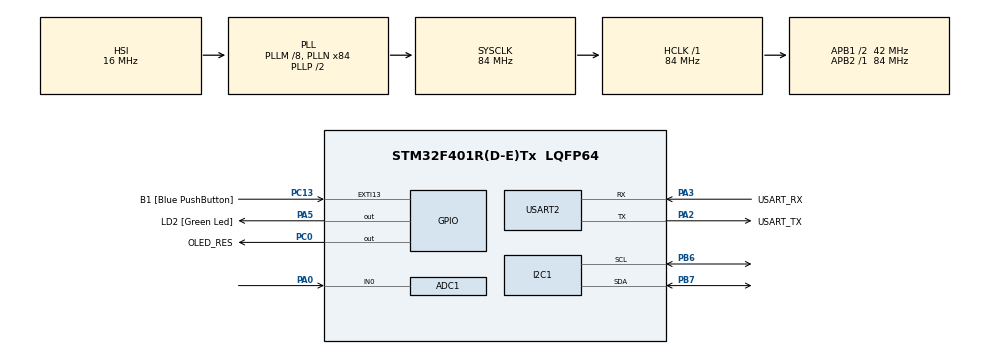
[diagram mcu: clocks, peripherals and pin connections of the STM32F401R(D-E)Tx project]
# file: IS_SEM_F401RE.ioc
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ADC1.Channel-2\#ChannelRegularConversion=ADC_CHANNEL_0
ADC1.ContinuousConvMode=ENABLE
ADC1.DMAContinuousRequests=ENABLE
ADC1.NbrOfConversionFlag=1
ADC1.Rank-2\#ChannelRegularConversion=1
ADC1.SamplingTime-2\#ChannelRegularConversion=ADC_SAMPLETIME_3CYCLES
ADC1.master=1
Dma.ADC1.0.Direction=DMA_PERIPH_TO_MEMORY
Dma.ADC1.0.FIFOMode=DMA_FIFOMODE_DISABLE
Dma.ADC1.0.Instance=DMA2_Stream0
Dma.ADC1.0.MemDataAlignment=DMA_MDATAALIGN_HALFWORD
Dma.ADC1.0.MemInc=DMA_MINC_ENABLE
Dma.ADC1.0.Mode=DMA_CIRCULAR
Dma.ADC1.0.PeriphDataAlignment=DMA_PDATAALIGN_HALFWORD
Dma.ADC1.0.PeriphInc=DMA_PINC_DISABLE
Dma.ADC1.0.Priority=DMA_PRIORITY_LOW
Dma.Request0=ADC1
Mcu.Family=STM32F4
Mcu.Name=STM32F401R(D-E)Tx
Mcu.Package=LQFP64
NVIC.DMA2_Stream0_IRQn=true\:0\:0\:false\:false\:true\:false\:true\:true
NVIC.EXTI15_10_IRQn=true\:0\:0\:false\:false\:true\:true\:true\:true
NVIC.PriorityGroup=NVIC_PRIORITYGROUP_4
NVIC.TIM3_IRQn=true\:0\:0\:false\:false\:true\:true\:true\:true
PA0-WKUP.Signal=ADCx_IN0
PA13.GPIO_Label=TMS
PA13.Mode=Trace_Asynchronous_SW
PA13.Signal=SYS_JTMS-SWDIO
PA14.GPIO_Label=TCK
PA14.Mode=Trace_Asynchronous_SW
PA14.Signal=SYS_JTCK-SWCLK
PA2.GPIO_Label=USART_TX
PA2.GPIO_Mode=GPIO_MODE_AF_PP
PA2.GPIO_PuPd=GPIO_NOPULL
PA2.GPIO_Speed=GPIO_SPEED_FREQ_LOW
PA2.Mode=Asynchronous
PA2.Signal=USART2_TX
PA3.GPIO_Label=USART_RX
PA3.GPIO_Mode=GPIO_MODE_AF_PP
PA3.GPIO_PuPd=GPIO_NOPULL
PA3.GPIO_Speed=GPIO_SPEED_FREQ_LOW
PA3.Mode=Asynchronous
PA3.Signal=USART2_RX
PA5.GPIO_Label=LD2 [Green Led]
PA5.GPIO_Mode=GPIO_MODE_OUTPUT_PP
PA5.GPIO_PuPd=GPIO_NOPULL
PA5.GPIO_Speed=GPIO_SPEED_FREQ_LOW
PA5.Signal=GPIO_Output
PB3.GPIO_Label=SWO
PB3.Mode=Trace_Asynchronous_SW
PB3.Signal=SYS_JTDO-SWO
PB6.Mode=I2C
PB6.Signal=I2C1_SCL
PB7.Mode=I2C
PB7.Signal=I2C1_SDA
PC0.GPIO_Label=OLED_RES
PC0.Signal=GPIO_Output
PC13-ANTI_TAMP.GPIO_Label=B1 [Blue PushButton]
PC13-ANTI_TAMP.GPIO_ModeDefaultEXTI=GPIO_MODE_IT_FALLING
PC13-ANTI_TAMP.GPIO_PuPd=GPIO_PULLUP
PC13-ANTI_TAMP.Signal=GPXTI13
PC14-OSC32_IN.Mode=LSE-External-Oscillator
PC14-OSC32_IN.Signal=RCC_OSC32_IN
PC15-OSC32_OUT.Mode=LSE-External-Oscillator
PC15-OSC32_OUT.Signal=RCC_OSC32_OUT
PH0\ -\ OSC_IN.Mode=HSE-External-Clock-Source
PH0\ -\ OSC_IN.Signal=RCC_OSC_IN
PH1\ -\ OSC_OUT.Mode=HSE-External-Clock-Source
PH1\ -\ OSC_OUT.Signal=RCC_OSC_OUT
ProjectManager.HeapSize=0x200
ProjectManager.StackSize=0x400
ProjectManager.TargetToolchain=STM32CubeIDE
RCC.48MHZClocksFreq_Value=24000000
RCC.AHBFreq_Value=84000000
RCC.APB1CLKDivider=RCC_HCLK_DIV2
RCC.APB1Freq_Value=42000000
RCC.APB1TimFreq_Value=84000000
RCC.APB2Freq_Value=84000000
RCC.APB2TimFreq_Value=84000000
RCC.CortexFreq_Value=84000000
RCC.HCLKFreq_Value=84000000
RCC.HSE_VALUE=8000000
RCC.HSI_VALUE=16000000
RCC.PLLM=8
RCC.PLLN=84
RCC.PLLQ=7
RCC.SYSCLKFreq_VALUE=84000000
RCC.SYSCLKSource=RCC_SYSCLKSOURCE_PLLCLK
RCC.VCOOutputFreq_Value=168000000
SH.ADCx_IN0.0=ADC1_IN0,IN0
TIM3.Period=9999
TIM3.Prescaler=8399
USART2.VirtualMode=VM_ASYNC
VP_TIM3_VS_ClockSourceINT.Mode=Internal
board=NUCLEO-F401RE

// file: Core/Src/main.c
/* USER CODE BEGIN Header */
/**
  ******************************************************************************
  * @file           : main.c
  * @brief          : Main program body
  ******************************************************************************
  * @attention
  *
  * Copyright (c) 2026 STMicroelectronics.
  * All rights reserved.
  *
  * This software is licensed under terms that can be found in the LICENSE file
  * in the root directory of this software component.
  * If no LICENSE file comes with this software, it is provided AS-IS.
  *
  ******************************************************************************
  */
/* USER CODE END Header */
#include "main.h"

/* USER CODE BEGIN Includes */
#include "sh1106_driver.h"
#include "testing.h"
#include <stdio.h>
#include <string.h>
/* USER CODE END Includes */

ADC_HandleTypeDef hadc1;
DMA_HandleTypeDef hdma_adc1;
I2C_HandleTypeDef hi2c1;
TIM_HandleTypeDef htim3;
UART_HandleTypeDef huart2;

/* USER CODE BEGIN PV */
uint16_t adc_buf[ADC_BUF_SIZE];
float measured_freq = 0;
float vpp = 0;
float vmin = 0;
float vmax = 0;
float sample_rate = 1400000.0f;
volatile uint8_t dma_ready = 0;
volatile uint8_t display_ready = 0;
volatile uint8_t timer_done = 0;
uint32_t test_start_tick = 0;
uint8_t test_freq_idx = 0;
uint8_t test_mode = 0;
uint8_t start_test=0;
/* USER CODE END PV */

void SystemClock_Config(void);
static void MX_GPIO_Init(void);
static void MX_DMA_Init(void);
static void MX_ADC1_Init(void);
static void MX_I2C1_Init(void);
static void MX_TIM3_Init(void);
static void MX_USART2_UART_Init(void);

/* USER CODE BEGIN 0 */
void HAL_TIM_PeriodElapsedCallback(TIM_HandleTypeDef *htim)
{
	//1 sekundes intevalui praejus iskeliama ekrano atnaujinimo flag
    if(htim->Instance == TIM3)
    {
        display_ready = 1;
        timer_done = 1;
    }
}
void HAL_GPIO_EXTI_Callback(uint16_t GPIO_Pin)
{
	//Paspaudus mygtuką inicializuojamas testavimo rezimas
    if(GPIO_Pin == B1_Pin)
        test_mode = 1;
}
//ADC iskvietimas
void HAL_ADC_ConvCpltCallback(ADC_HandleTypeDef* hadc)
{
	//Iskelia flag kai DMA pasiruoses
    dma_ready = 1;
}
//Funkcija naudojama ASK keitiklio nuskaitymo dazniui pakeisti
void SetAdcSpeed(uint32_t sample_time, float rate)
{
    ADC_ChannelConfTypeDef sConfig = {0};
    HAL_ADC_Stop_DMA(&hadc1);
    sConfig.Channel = ADC_CHANNEL_0;
    sConfig.Rank = 1;
    sConfig.SamplingTime = sample_time;
    HAL_ADC_ConfigChannel(&hadc1, &sConfig);
    sample_rate = rate;
    HAL_ADC_Start_DMA(&hadc1, (uint32_t*)adc_buf, ADC_BUF_SIZE);
}
void SignaloApdorojimas(void)
{
	//-------1 Dalis Itampos apdorojimas
    //Surandame maziausia ir didziausia matuojamas itampos reiksmes
    uint16_t abs_min = 4095;
    uint16_t abs_max = 0;
    for(int i = 0; i < ADC_BUF_SIZE; i++)
    {
		//Jei masyve egzistuoja mazesne/didesne verte ji prilyginama absoliuc vertei
        uint16_t s = adc_buf[i];
        if(s < abs_min) abs_min = s;
        if(s > abs_max) abs_max = s;
    }
	//Kadangi paduodamas staciakampis signalas, skirtingais dazniais
	//gali atsirasti triuksmu, todel randame vertes, kurios 20%
	//mazesnes/didesnes nei pati maziausia/didziausia verte
	//Taip islyginsime triuksmu itaka itampos matavime ir atsikratysime netinkamu
	//itampos suoliu ar kritimu  itakos
	uint32_t sum_zem_l  = 0;
    uint32_t sum_aukst_l = 0;
    uint32_t count_zem  = 0;
    uint32_t count_aukst = 0;
    uint16_t diapazonas     = abs_max - abs_min;
    uint16_t zem_auksc  = abs_min + diapazonas * 0.2;
    uint16_t aukst_zem = abs_max - diapazonas * 0.2;
    for(int i = 0; i < ADC_BUF_SIZE; i++)
    {
		//Jei verte mazesne/didesne sumuojama ir renkamas kiekis, kad veliau butu
		//galima gauti vidutine reiksme vmin ir vmax nustatymui
        uint16_t s = adc_buf[i];
        if(s <= zem_auksc){sum_zem_l  += s; count_zem++;}
        if(s >= aukst_zem){sum_aukst_l += s; count_aukst++;}
    }
	//Apskaiciuojama vidutine min max verte desimtainiu skaiciumi
    uint16_t min, max;
    if(count_zem  > 0){min = (uint16_t)(sum_zem_l  / count_zem);}
    else{min = abs_min;}
    if(count_aukst > 0){max = (uint16_t)(sum_aukst_l / count_aukst);}
    else{max = abs_max;}
    //Itampos skaiciavimas atvaizdavimui ekrane
    vmin = min * 3.3f / 4095.0f;
    vmax = max * 3.3f / 4095.0f;
	vpp = vmax - vmin;
	//Jei gaunamas per mazas signalas, nuresetinam, ADC perjungiam i letesni
	//rezima kad sumazintume triuksmo itaka, laukiam DMA persikrovimo pries
	//tesiant
    if(vpp < 0.03f)
    {
        measured_freq = 0;
        vpp = 0;
        dma_ready = 0;
        SetAdcSpeed(ADC_SAMPLETIME_480CYCLES, 21000000.0f / 492.0f);
        while(!dma_ready);
        return;
    }
	//-------2 Dalis Daznio nustatymas
    //Parenka zingsni, kuris nustato kaip daznai stebeti signala pagal jo dazni
	//Jei dazni zinom kaip zingsni naudojam 40% periodo
	//Jei daznio nezinom zingsnis = 4
	float fs = sample_rate;
	uint32_t zingsnis = (measured_freq > 1.0f)
                   ? (uint32_t)(fs / measured_freq * 0.4f)
                   : 4;
    if(zingsnis < 3)    zingsnis = 3;
    if(zingsnis > 5000) zingsnis = 5000;
	//Kai itampos reiksme yra didesne nei puse itampos vertes (rising front),
	//priskaiciuojamas kaip perejimas. 2 perejimai yra 1 periodas.
	//Perejimu vertes gauname is ADC indeksu pagal kuriuos galime rasti
	//laika tarp perejimu ir is jo rasti signalo dazni
	uint32_t perejimas[64];
    uint32_t count_perej = 0;
    uint8_t  state      = 0;
    uint32_t last_perej = 0;
	uint16_t mid = (min + max) / 2;
    for(int i = 1; i < ADC_BUF_SIZE; i++)
    {
		//Rising front
        if(state == 0 && adc_buf[i] > mid)
        {
            if((i - last_perej) > zingsnis)
            {
                state = 1;
                last_perej = i;
                if(count_perej < 64)
                    perejimas[count_perej++] = i;
            }
        }
		//Falling front
        if(state == 1 && adc_buf[i] < mid)
            state = 0;
    }
	//Jei perejimu skaicius yra didesnis nei 4 apskaiciuojame laiko tarpa
	//tarp paskutinio ir pirmo perejimo. Daznis apskaiciuojamas zinant
	//ADC atskaitu emimo dazni, dauginant ji is gauto periodu kiekio,
	//dalinant is imciu kiekio.
    if(count_perej >= 4)
    {
        uint32_t t1 = perejimas[0];
        uint32_t t2 = perejimas[count_perej - 1];
        float periods       = (float)(count_perej - 1);
        float total_samples = (float)(t2 - t1);
        if(total_samples > 0.0f)
        {
            float freq_now = fs * periods / total_samples;
            if(measured_freq < 1.0f){measured_freq = freq_now;}
			//EMA (exponential moving average) filtras dazniu sokinejimo mazinimui,
			//60% senos reiksmes, 40% naujos reiksmes
            else{measured_freq = 0.6f * measured_freq + 0.4f * freq_now;}
        }
    }
    dma_ready = 0;
	//Atliekame ADC perjungima i rezimus, kurie palengvins daznio nuskaityma
    float range_freq = (measured_freq < 1.0f) ? 0.0f : measured_freq;
    if(range_freq < 600.0f)
        SetAdcSpeed(ADC_SAMPLETIME_480CYCLES, 21000000.0f / 492.0f);
    else if(range_freq < 15000.0f)
        SetAdcSpeed(ADC_SAMPLETIME_28CYCLES,  21000000.0f / 40.0f);
    else
        SetAdcSpeed(ADC_SAMPLETIME_3CYCLES,   1400000.0f);
    while(!dma_ready);
}
/* USER CODE END 0 */

int main(void)
{

  /* MCU Configuration--------------------------------------------------------*/

  /* Reset of all peripherals, Initializes the Flash interface and the Systick. */
  HAL_Init();

  /* Configure the system clock */
  SystemClock_Config();

  /* Initialize all configured peripherals */
  MX_GPIO_Init();
  MX_DMA_Init();
  MX_ADC1_Init();
  MX_I2C1_Init();
  MX_TIM3_Init();
  MX_USART2_UART_Init();
  /* USER CODE BEGIN 2 */
  HAL_TIM_Base_Start_IT(&htim3);
  HAL_ADC_Start_DMA(&hadc1,(uint32_t*)adc_buf,ADC_BUF_SIZE);
  HAL_GPIO_WritePin(OLED_RES_GPIO_Port, OLED_RES_Pin, GPIO_PIN_RESET);
  HAL_Delay(50);

  HAL_GPIO_WritePin(OLED_RES_GPIO_Port, OLED_RES_Pin, GPIO_PIN_SET);
  HAL_Delay(50);

  SH1106_Init();

  dma_ready = 0;
  SetAdcSpeed(ADC_SAMPLETIME_480CYCLES, 21000000.0f / 492.0f); /* ~42.7 kHz */
  while(!dma_ready);
  /* USER CODE END 2 */

  /* Infinite loop */
  /* USER CODE BEGIN WHILE */
  while (1)
  {

	  if(test_mode)
	  {
		  test_mode = 0;
		  RunFullTest();
		  test_freq_idx++;
		  if(test_freq_idx>=4)
		  {
			  test_freq_idx = 0;
		  }
	  }
	  SignaloApdorojimas();
	  if(display_ready)
	  {
		  display_ready = 0;
		  char line1[32];
		  char line2[32];
		  sprintf(line1, "Vpp: %.3f V", vpp);
		  sprintf(line2, "Freq: %.1f Hz", measured_freq);

		  SH1106_Fill(SH1106_COLOR_BLACK);
		  SH1106_GotoXY(12, 10);
		  SH1106_Puts(line1, &Font_7x10, SH1106_COLOR_WHITE);
		  SH1106_GotoXY(12, 30);
		  SH1106_Puts(line2, &Font_7x10, SH1106_COLOR_WHITE);
		  SH1106_UpdateScreen();

		  HAL_UART_Transmit(&huart2, (uint8_t*)line1, strlen(line1), 100);
		  HAL_UART_Transmit(&huart2, (uint8_t*)"\r\n", 2, 100);
		  HAL_UART_Transmit(&huart2, (uint8_t*)line2, strlen(line2), 100);
		  HAL_UART_Transmit(&huart2, (uint8_t*)"\r\n\r\n", 4, 100);

	  }
	  /* USER CODE END WHILE */

  }
}

void SystemClock_Config(void)
{
  RCC_OscInitTypeDef RCC_OscInitStruct = {0};
  RCC_ClkInitTypeDef RCC_ClkInitStruct = {0};

  /** Configure the main internal regulator output voltage
  */
  __HAL_RCC_PWR_CLK_ENABLE();
  __HAL_PWR_VOLTAGESCALING_CONFIG(PWR_REGULATOR_VOLTAGE_SCALE2);

  /** Initializes the RCC Oscillators according to the specified parameters
  * in the RCC_OscInitTypeDef structure.
  */
  RCC_OscInitStruct.OscillatorType = RCC_OSCILLATORTYPE_HSI;
  RCC_OscInitStruct.HSIState = RCC_HSI_ON;
  RCC_OscInitStruct.HSICalibrationValue = RCC_HSICALIBRATION_DEFAULT;
  RCC_OscInitStruct.PLL.PLLState = RCC_PLL_ON;
  RCC_OscInitStruct.PLL.PLLSource = RCC_PLLSOURCE_HSI;
  RCC_OscInitStruct.PLL.PLLM = 8;
  RCC_OscInitStruct.PLL.PLLN = 84;
  RCC_OscInitStruct.PLL.PLLP = RCC_PLLP_DIV2;
  RCC_OscInitStruct.PLL.PLLQ = 7;
  if (HAL_RCC_OscConfig(&RCC_OscInitStruct) != HAL_OK)
  {
    Error_Handler();
  }

  /** Initializes the CPU, AHB and APB buses clocks
  */
  RCC_ClkInitStruct.ClockType = RCC_CLOCKTYPE_HCLK|RCC_CLOCKTYPE_SYSCLK
                              |RCC_CLOCKTYPE_PCLK1|RCC_CLOCKTYPE_PCLK2;
  RCC_ClkInitStruct.SYSCLKSource = RCC_SYSCLKSOURCE_PLLCLK;
  RCC_ClkInitStruct.AHBCLKDivider = RCC_SYSCLK_DIV1;
  RCC_ClkInitStruct.APB1CLKDivider = RCC_HCLK_DIV2;
  RCC_ClkInitStruct.APB2CLKDivider = RCC_HCLK_DIV1;

  if (HAL_RCC_ClockConfig(&RCC_ClkInitStruct, FLASH_LATENCY_2) != HAL_OK)
  {
    Error_Handler();
  }
}

static void MX_ADC1_Init(void)
{

  ADC_ChannelConfTypeDef sConfig = {0};

  /** Configure the global features of the ADC (Clock, Resolution, Data Alignment and number of conversion)
  */
  hadc1.Instance = ADC1;
  hadc1.Init.ClockPrescaler = ADC_CLOCK_SYNC_PCLK_DIV4;
  hadc1.Init.Resolution = ADC_RESOLUTION_12B;
  hadc1.Init.ScanConvMode = DISABLE;
  hadc1.Init.ContinuousConvMode = ENABLE;
  hadc1.Init.DiscontinuousConvMode = DISABLE;
  hadc1.Init.ExternalTrigConvEdge = ADC_EXTERNALTRIGCONVEDGE_NONE;
  hadc1.Init.ExternalTrigConv = ADC_SOFTWARE_START;
  hadc1.Init.DataAlign = ADC_DATAALIGN_RIGHT;
  hadc1.Init.NbrOfConversion = 1;
  hadc1.Init.DMAContinuousRequests = ENABLE;
  hadc1.Init.EOCSelection = ADC_EOC_SINGLE_CONV;
  if (HAL_ADC_Init(&hadc1) != HAL_OK)
  {
    Error_Handler();
  }

  /** Configure for the selected ADC regular channel its corresponding rank in the sequencer and its sample time.
  */
  sConfig.Channel = ADC_CHANNEL_0;
  sConfig.Rank = 1;
  sConfig.SamplingTime = ADC_SAMPLETIME_3CYCLES;
  if (HAL_ADC_ConfigChannel(&hadc1, &sConfig) != HAL_OK)
  {
    Error_Handler();
  }

}

static void MX_I2C1_Init(void)
{

  hi2c1.Instance = I2C1;
  hi2c1.Init.ClockSpeed = 100000;
  hi2c1.Init.DutyCycle = I2C_DUTYCYCLE_2;
  hi2c1.Init.OwnAddress1 = 0;
  hi2c1.Init.AddressingMode = I2C_ADDRESSINGMODE_7BIT;
  hi2c1.Init.DualAddressMode = I2C_DUALADDRESS_DISABLE;
  hi2c1.Init.OwnAddress2 = 0;
  hi2c1.Init.GeneralCallMode = I2C_GENERALCALL_DISABLE;
  hi2c1.Init.NoStretchMode = I2C_NOSTRETCH_DISABLE;
  if (HAL_I2C_Init(&hi2c1) != HAL_OK)
  {
    Error_Handler();
  }

}

static void MX_TIM3_Init(void)
{

  TIM_ClockConfigTypeDef sClockSourceConfig = {0};
  TIM_MasterConfigTypeDef sMasterConfig = {0};

  htim3.Instance = TIM3;
  htim3.Init.Prescaler = 8399;
  htim3.Init.CounterMode = TIM_COUNTERMODE_UP;
  htim3.Init.Period = 9999;
  htim3.Init.ClockDivision = TIM_CLOCKDIVISION_DIV1;
  htim3.Init.AutoReloadPreload = TIM_AUTORELOAD_PRELOAD_DISABLE;
  if (HAL_TIM_Base_Init(&htim3) != HAL_OK)
  {
    Error_Handler();
  }
  sClockSourceConfig.ClockSource = TIM_CLOCKSOURCE_INTERNAL;
  if (HAL_TIM_ConfigClockSource(&htim3, &sClockSourceConfig) != HAL_OK)
  {
    Error_Handler();
  }
  sMasterConfig.MasterOutputTrigger = TIM_TRGO_RESET;
  sMasterConfig.MasterSlaveMode = TIM_MASTERSLAVEMODE_DISABLE;
  if (HAL_TIMEx_MasterConfigSynchronization(&htim3, &sMasterConfig) != HAL_OK)
  {
    Error_Handler();
  }

}

static void MX_USART2_UART_Init(void)
{

  huart2.Instance = USART2;
  huart2.Init.BaudRate = 115200;
  huart2.Init.WordLength = UART_WORDLENGTH_8B;
  huart2.Init.StopBits = UART_STOPBITS_1;
  huart2.Init.Parity = UART_PARITY_NONE;
  huart2.Init.Mode = UART_MODE_TX_RX;
  huart2.Init.HwFlowCtl = UART_HWCONTROL_NONE;
  huart2.Init.OverSampling = UART_OVERSAMPLING_16;
  if (HAL_UART_Init(&huart2) != HAL_OK)
  {
    Error_Handler();
  }

}

static void MX_DMA_Init(void)
{

  /* DMA controller clock enable */
  __HAL_RCC_DMA2_CLK_ENABLE();

  /* DMA interrupt init */
  /* DMA2_Stream0_IRQn interrupt configuration */
  HAL_NVIC_SetPriority(DMA2_Stream0_IRQn, 0, 0);
  HAL_NVIC_EnableIRQ(DMA2_Stream0_IRQn);

}

static void MX_GPIO_Init(void)
{
  GPIO_InitTypeDef GPIO_InitStruct = {0};

  /* GPIO Ports Clock Enable */
  __HAL_RCC_GPIOC_CLK_ENABLE();
  __HAL_RCC_GPIOH_CLK_ENABLE();
  __HAL_RCC_GPIOA_CLK_ENABLE();
  __HAL_RCC_GPIOB_CLK_ENABLE();

  /*Configure GPIO pin Output Level */
  HAL_GPIO_WritePin(OLED_RES_GPIO_Port, OLED_RES_Pin, GPIO_PIN_RESET);

  /*Configure GPIO pin Output Level */
  HAL_GPIO_WritePin(LD2_GPIO_Port, LD2_Pin, GPIO_PIN_RESET);

  /*Configure GPIO pin : B1_Pin */
  GPIO_InitStruct.Pin = B1_Pin;
  GPIO_InitStruct.Mode = GPIO_MODE_IT_FALLING;
  GPIO_InitStruct.Pull = GPIO_PULLUP;
  HAL_GPIO_Init(B1_GPIO_Port, &GPIO_InitStruct);

  /*Configure GPIO pin : OLED_RES_Pin */
  GPIO_InitStruct.Pin = OLED_RES_Pin;
  GPIO_InitStruct.Mode = GPIO_MODE_OUTPUT_PP;
  GPIO_InitStruct.Pull = GPIO_NOPULL;
  GPIO_InitStruct.Speed = GPIO_SPEED_FREQ_LOW;
  HAL_GPIO_Init(OLED_RES_GPIO_Port, &GPIO_InitStruct);

  /*Configure GPIO pin : LD2_Pin */
  GPIO_InitStruct.Pin = LD2_Pin;
  GPIO_InitStruct.Mode = GPIO_MODE_OUTPUT_PP;
  GPIO_InitStruct.Pull = GPIO_NOPULL;
  GPIO_InitStruct.Speed = GPIO_SPEED_FREQ_LOW;
  HAL_GPIO_Init(LD2_GPIO_Port, &GPIO_InitStruct);

  /* EXTI interrupt init*/
  HAL_NVIC_SetPriority(EXTI15_10_IRQn, 0, 0);
  HAL_NVIC_EnableIRQ(EXTI15_10_IRQn);

}

void Error_Handler(void)
{
  __disable_irq();
  while (1)
  {
  }
}
